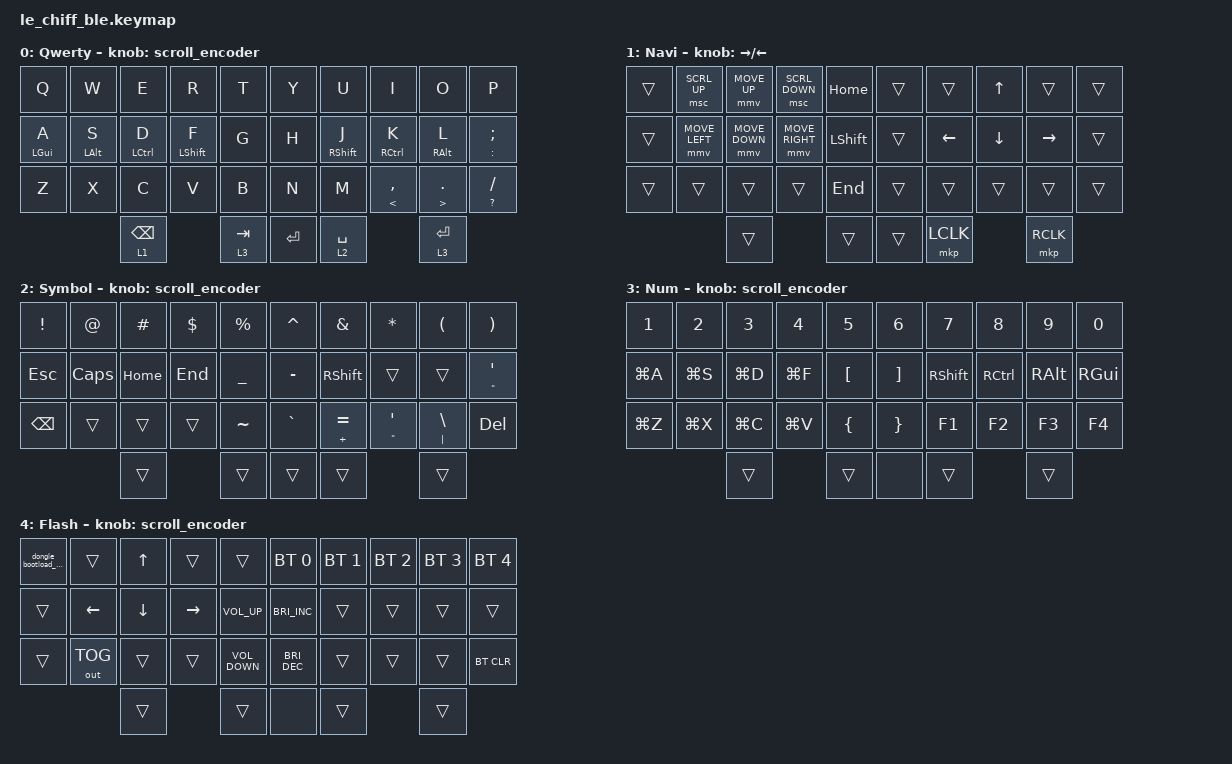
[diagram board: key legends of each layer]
/*
 * Copyright (c) 2021 @MangoIV
 *
 * SPDX-License-Identifier: MIT
 */

#define ZMK_MOUSE_DEFAULT_SCRL_VAL 35 // 10

#include <behaviors/mouse_keys.dtsi>
#include <behaviors.dtsi>
#include <dt-bindings/zmk/bt.h>
#include <dt-bindings/zmk/keys.h>
#include <dt-bindings/zmk/mouse.h>
#include <dt-bindings/zmk/outputs.h>

&msc {
    acceleration-exponent = <0>;      // 0
    time-to-max-speed-ms = <0>;       // 300
    delay-ms = <0>;                   // 0
};

&mmv {
    time-to-max-speed-ms = <400>;
    acceleration-exponent = <1>;
};

/ {
    combos {
        compatible = "zmk,combos";

        combo_esc {
            timeout-ms = <50>;
            key-positions = <0 1>;
            bindings = <&kp ESC>;
        };

        left_bkt {
            bindings = <&kp LEFT_BRACKET>;
            key-positions = <2 3>;
            timeout-ms = <50>;
        };

        right_bkt {
            bindings = <&kp RIGHT_BRACKET>;
            key-positions = <7 6>;
            timeout-ms = <50>;
        };

        left_par {
            bindings = <&kp LEFT_PARENTHESIS>;
            key-positions = <12 13>;
            timeout-ms = <50>;
        };

        right_par {
            bindings = <&kp RIGHT_PARENTHESIS>;
            key-positions = <16 17>;
            timeout-ms = <50>;
        };

        left_brace {
            bindings = <&kp LEFT_BRACE>;
            key-positions = <22 23>;
            timeout-ms = <50>;
        };

        right_brace {
            bindings = <&kp RIGHT_BRACE>;
            key-positions = <26 27>;
            timeout-ms = <50>;
        };

        bac {
            bindings = <&kp BACKSLASH>;
            key-positions = <24 25>;
            timeout-ms = <50>;
        };

        pipe {
            bindings = <&kp PIPE>;
            key-positions = <14 15>;
            timeout-ms = <50>;
        };

        plus {
            bindings = <&kp PLUS>;
            key-positions = <11 12>;
        };

        equal {
            bindings = <&kp EQUAL>;
            key-positions = <18 17>;
        };
    };

    macros {
        dongle_bootload_macro: bootload_macro {
            compatible = "zmk,behavior-macro";
            #binding-cells = <0>;
            bindings = <&bootloader>;
            label = "BOOTLOAD_MACRO";
        };
    };

    behaviors {
        hm: homerow_mods {
            compatible = "zmk,behavior-hold-tap";
            label = "HOMEROW_MODS";
            bindings = <&kp>, <&kp>;

            #binding-cells = <2>;
            tapping-term-ms = <200>;
            quick-tap-ms = <180>;
            flavor = "tap-preferred";
        };

        ltq: ltq {
            compatible = "zmk,behavior-hold-tap";
            label = "LTQ";
            bindings = <&mo>, <&kp>;

            #binding-cells = <2>;
            tapping-term-ms = <200>;
            quick-tap-ms = <180>;
        };

        as: auto_shift {
            compatible = "zmk,behavior-hold-tap";
            label = "AUTO_SHIFT";
            bindings = <&kp>, <&kp>;

            #binding-cells = <2>;
            tapping-term-ms = <135>;
            quick-tap-ms = <0>;
        };

        scroll_encoder: scroll_encoder {
            compatible = "zmk,behavior-sensor-rotate";
            #sensor-binding-cells = <0>;
            bindings = <&msc SCRL_UP>, <&msc SCRL_DOWN>;

            tap-ms = <30>;
        };
    };

    keymap {
        compatible = "zmk,keymap";

        Qwery {
            label = "Qwerty";
            bindings = <
&kp Q           &kp W           &kp E             &kp R             &kp T       &kp Y      &kp U              &kp I                &kp O                    &kp P
&hm LEFT_GUI A  &hm LEFT_ALT S  &hm LCTRL D       &hm LEFT_SHIFT F  &kp G       &kp H      &hm RIGHT_SHIFT J  &hm RCTRL K          &hm RIGHT_ALT L          &as COLON SEMICOLON
&kp Z           &kp X           &kp C             &kp V             &kp B       &kp N      &kp M              &as LESS_THAN COMMA  &as GREATER_THAN PERIOD  &as QUESTION SLASH
                                &ltq 1 BACKSPACE                    &ltq 3 TAB  &kp ENTER  &ltq 2 SPACE                            &ltq 3 ENTER
            >;

            sensor-bindings = <&scroll_encoder>;
        };

        Navi {
            bindings = <
&trans  &msc SCRL_UP    &mmv MOVE_UP    &msc SCRL_DOWN   &kp HOME        &trans  &trans     &kp UP_ARROW    &trans           &trans
&trans  &mmv MOVE_LEFT  &mmv MOVE_DOWN  &mmv MOVE_RIGHT  &kp LEFT_SHIFT  &trans  &kp LEFT   &kp DOWN_ARROW  &kp RIGHT_ARROW  &trans
&trans  &trans          &trans          &trans           &kp END         &trans  &trans     &trans          &trans           &trans
                        &trans                           &trans          &trans  &mkp LCLK                  &mkp RCLK
            >;

            label = "Navi";
            sensor-bindings = <&inc_dec_kp RIGHT_ARROW LEFT_ARROW>;
        };

        Symbol {
            bindings = <
&kp EXCLAMATION  &kp AT_SIGN   &kp HASH  &kp DOLLAR  &kp PERCENT  &kp CARET  &kp AMPERSAND    &kp ASTERISK                    &kp LEFT_PARENTHESIS  &kp RIGHT_PARENTHESIS
&kp ESCAPE       &kp CAPSLOCK  &kp HOME  &kp END     &kp UNDER    &kp MINUS  &kp RIGHT_SHIFT  &trans                          &trans                &as DOUBLE_QUOTES SQT
&kp BACKSPACE    &trans        &trans    &trans      &kp TILDE    &kp GRAVE  &as PLUS EQUAL   &as DOUBLE_QUOTES SINGLE_QUOTE  &as PIPE BACKSLASH    &kp DELETE
                               &trans                &trans       &trans     &trans                                           &trans
            >;

            label = "Symbol";
            sensor-bindings = <&scroll_encoder>;
        };

        Num {
            bindings = <
&kp NUMBER_1  &kp NUMBER_2  &kp NUMBER_3  &kp NUMBER_4  &kp NUMBER_5      &kp NUMBER_6       &kp NUMBER_7     &kp NUMBER_8       &kp NUMBER_9   &kp NUMBER_0
&kp LG(A)     &kp LG(S)     &kp LG(D)     &kp LG(F)     &kp LEFT_BRACKET  &kp RIGHT_BRACKET  &kp RIGHT_SHIFT  &kp RIGHT_CONTROL  &kp RIGHT_ALT  &kp RIGHT_GUI
&kp LG(Z)     &kp LG(X)     &kp LG(C)     &kp LG(V)     &kp LEFT_BRACE    &kp RIGHT_BRACE    &kp F1           &kp F2             &kp F3         &kp F4
                            &trans                      &trans            &none              &trans                              &trans
            >;

            label = "Num";
            sensor-bindings = <&scroll_encoder>;
        };

        Flash {
            bindings = <
&dongle_bootload_macro  &trans          &kp UP_ARROW    &trans           &trans             &bt BT_SEL 0          &bt BT_SEL 1  &bt BT_SEL 2  &bt BT_SEL 3  &bt BT_SEL 4
&trans                  &kp LEFT_ARROW  &kp DOWN_ARROW  &kp RIGHT_ARROW  &kp C_VOLUME_UP    &kp C_BRIGHTNESS_INC  &trans        &trans        &trans        &trans
&trans                  &out OUT_TOG    &trans          &trans           &kp C_VOLUME_DOWN  &kp C_BRIGHTNESS_DEC  &trans        &trans        &trans        &bt BT_CLR
                                        &trans                           &trans             &none                 &trans                      &trans
            >;

            label = "Flash";
            sensor-bindings = <&scroll_encoder>;
        };
    };

    conditional_layers {
        compatible = "zmk,conditional-layers";

        flash {
            if-layers = <2 3>;
            then-layer = <4>;
        };
    };
};
